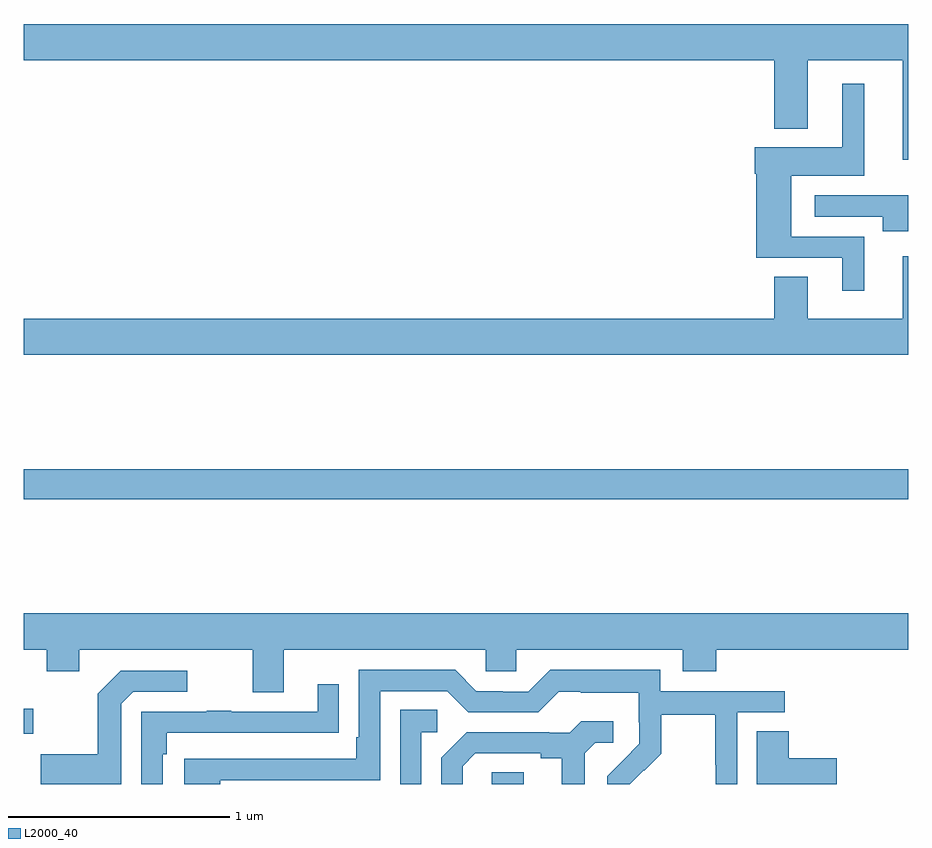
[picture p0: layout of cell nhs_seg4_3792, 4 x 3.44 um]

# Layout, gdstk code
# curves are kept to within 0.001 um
import gdstk
lib = gdstk.Library(unit=1e-6, precision=1e-09)
def R(c, l, rs):  # rectangles x0, y0, x1, y1
    for r in rs: c.add(gdstk.rectangle(r[:2], r[2:], *l))
def P(c, l, *ps):  # polygons
    for p in ps: c.add(gdstk.Polygon(p, *l))
L2000_40 = (2000, 40)

nhs_seg4_3792 = lib.new_cell('nhs_seg4_3792')
R(nhs_seg4_3792, L2000_40, [(313.116,774.9,313.261,774.953), (311,775.127,311.044,775.24), (311,776.188,315,776.324)])
P(nhs_seg4_3792, L2000_40, [(315,778.336),(311,778.336),(311,778.172),(314.393,778.172),(314.393,777.863),(314.545,777.863),(314.545,778.172),(314.975,778.172),(314.975,777.723),(315,777.723)],
  [(314.8,777.375),(314.47,777.375),(314.47,777.65),(314.8,777.65),(314.8,778.066),(314.702,778.066),(314.702,777.778),(314.306,777.778),(314.306,777.66),(314.312,777.66),(314.312,777.279),(314.702,777.279),(314.702,777.129),(314.8,777.129)],
  [(315,777.562),(314.889,777.562),(314.889,777.561),(314.577,777.561),(314.577,777.465),(314.885,777.465),(314.885,777.398),(315,777.398)],
  [(315,777.286),(314.975,777.286),(314.975,777.004),(314.545,777.004),(314.545,777.194),(314.393,777.194),(314.393,777.004),(311,777.004),(311,776.84),(315,776.84)],
  [(312.175,775.508),(313.089,775.508),(313.089,775.41),(313.227,775.41),(313.227,775.508),(313.979,775.508),(313.979,775.409),(314.132,775.409),(314.132,775.508),(315,775.508),(315,775.672),(311,775.672),(311,775.508),(311.104,775.508),(311.104,775.409),(311.251,775.409),(311.251,775.508),(312.035,775.508),(312.035,775.314),(312.175,775.314)],
  [(311.888,774.918),(312.612,774.918),(312.612,775.32),(312.915,775.32),(313.011,775.224),(313.326,775.224),(313.419,775.317),(313.519,775.317),(313.519,775.313),(313.782,775.313),(313.782,775.179),(313.784,775.179),(313.784,775.082),(313.638,774.934),(313.638,774.9),(313.74,774.9),(313.803,774.963),(313.806,774.96),(313.883,775.037),(313.883,775.212),(314.128,775.212),(314.128,774.988),(314.13,774.988),(314.13,774.9),(314.226,774.9),(314.226,775.224),(314.44,775.224),(314.44,775.32),(313.878,775.32),(313.878,775.417),(313.381,775.417),(313.281,775.317),(313.166,775.317),(313.166,775.32),(313.047,775.32),(312.951,775.416),(312.516,775.416),(312.516,775.111),(312.503,775.111),(312.503,775.014),(311.727,775.014),(311.727,774.9),(311.888,774.9)],
  [(311.442,775.263),(311.496,775.317),(311.74,775.317),(311.74,775.413),(311.439,775.413),(311.334,775.307),(311.334,775.035),(311.077,775.035),(311.077,774.9),(311.442,774.9)],
  [(311.628,775.034),(311.648,775.034),(311.648,775.131),(312.323,775.131),(312.323,775.132),(312.425,775.132),(312.425,775.351),(312.329,775.351),(312.329,775.227),(311.939,775.227),(311.939,775.232),(311.827,775.232),(311.827,775.227),(311.532,775.227),(311.532,774.9),(311.628,774.9)],
  [(312.798,775.134),(312.871,775.134),(312.871,775.235),(312.702,775.235),(312.702,774.9),(312.798,774.9)],
  [(312.985,774.981),(313.042,775.038),(313.337,775.038),(313.337,775.016),(313.433,775.016),(313.433,774.9),(313.537,774.9),(313.537,775.039),(313.584,775.086),(313.666,775.086),(313.666,775.183),(313.522,775.183),(313.47,775.131),(313.376,775.131),(313.376,775.134),(313.004,775.134),(312.888,775.018),(312.888,774.9),(312.985,774.9)],
  [(314.677,775.016),(314.459,775.016),(314.459,775.139),(314.315,775.139),(314.315,774.9),(314.677,774.9)])

lib.write_gds('nhs_seg4_3792.gds')
